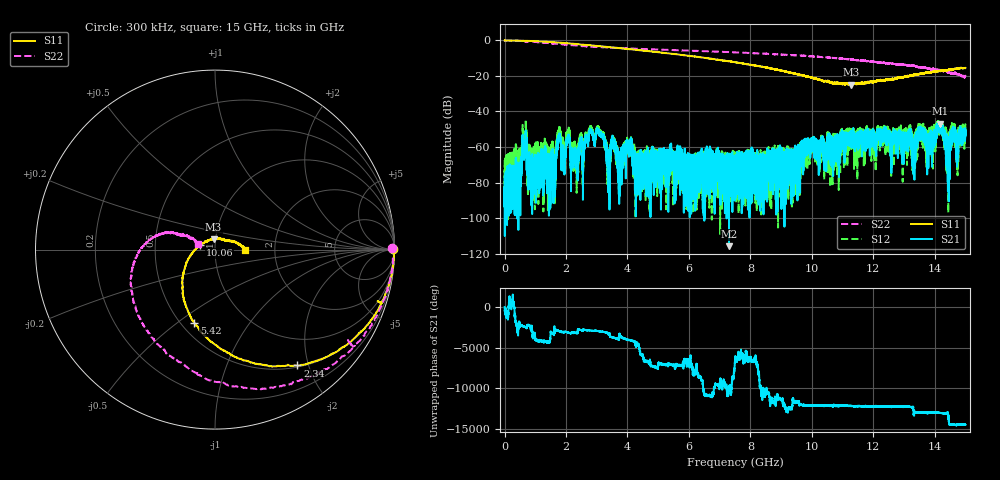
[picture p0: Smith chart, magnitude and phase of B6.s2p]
!Agilent Technologies,N5230C,SG49000117,A.08.50.07
!Agilent N5230C: A.08.50.07
!Date: Monday, December 11, 2023 21:33:23
!Correction: S11(Full 2 Port(1,2))
!S21(Full 2 Port(1,2))
!S12(Full 2 Port(1,2))
!S22(Full 2 Port(1,2))
!S2P File: Measurements: S11, S21, S12, S22:
# Hz S  RI  R 50
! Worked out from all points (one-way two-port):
!   20001 points, 300 kHz to 15 GHz, reference 50 ohm
!   highest |S21| = -46.82 dB at 14.18 GHz (marker M1); lowest = -115.8 dB at 7.305 GHz (marker M2)
!   lowest |S11| = -24.8 dB at 11.28 GHz (marker M3), VSWR 1.12, Z = 48.9 + j5.57 ohm
!   |S11| at or under -10 dB: 6.602075 GHz to 6.602532 GHz (456.4 kHz wide, 0.00691 % of centre); 6.608185 GHz to 6.611221 GHz (3.036 MHz wide, 0.0459 % of centre); 6.612 GHz to end of sweep
!   |S22| runs from -20.9 to 0.0 dB; largest |S21 - S12| = 0.0032
!   S11 on the Smith chart (normalised r, x): 300 kHz: open; 2.34 GHz: 0.52, -1.82; 5.42 GHz: 0.58, -0.58; 10.06 GHz: 0.85, +0.04; 15 GHz: 1.40, -0.01
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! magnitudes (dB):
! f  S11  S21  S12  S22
! 300 kHz  0.0  -76.6  -67.5  -0.1
! 459.3 MHz  -0.1  -88.0  -77.3  -0.2
! 641.5 MHz  -0.2  -62.4  -57.9  -0.4
! 909.3 MHz  -0.3  -78.5  -65.0  -0.7
! 1.594 GHz  -1.0  -71.2  -64.5  -1.7
! 1.767 GHz  -1.2  -54.4  -50.9  -2.0
! 2.34 GHz  -2.0  -66.8  -67.6  -2.8
! 2.501 GHz  -2.4  -55.4  -53.0  -3.1
! 3.058 GHz  -3.2  -51.0  -49.7  -3.8
! 3.372 GHz  -3.7  -73.5  -64.2  -4.0
! 3.534 GHz  -4.0  -56.3  -56.4  -4.1
! 5 GHz  -6.6  -67.4  -82.8  -5.2
! 5.42 GHz  -7.4  -64.9  -64.0  -5.4
! 7.305 GHz  -11.7  -115.8  -70.7  -6.6
! 7.5 GHz  -12.3  -81.6  -68.2  -6.7
! 10 GHz  -21.0  -57.4  -57.8  -8.9
! 10.06 GHz  -21.3  -60.6  -59.3  -9.0
! 11.28 GHz  -24.8  -50.8  -58.7  -10.7
! 12.5 GHz  -21.9  -54.7  -57.9  -13.0
! 14.18 GHz  -17.3  -46.8  -49.1  -16.9
! 14.43 GHz  -16.7  -66.6  -58.2  -18.0
! 15 GHz  -15.5  -51.7  -49.1  -19.9
